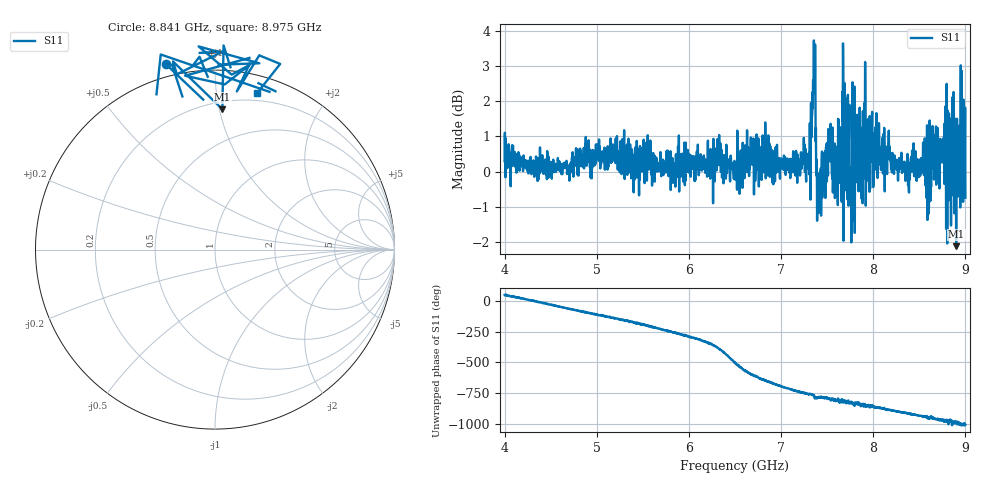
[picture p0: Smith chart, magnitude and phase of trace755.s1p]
! Created with skrf 1.8.0 (http://scikit-rf.org).
# Hz S RI R 50.0
!freq ReS11 ImS11
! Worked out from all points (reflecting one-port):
!   1601 points, 4 GHz to 9 GHz, reference 50 ohm
!   lowest |S11| = -2.1 dB at 8.9 GHz (marker M1), VSWR 8.24, Z = 12.6 + j51.1 ohm
!   phase of S11 starts at 47 deg and turns -1052 deg over the sweep
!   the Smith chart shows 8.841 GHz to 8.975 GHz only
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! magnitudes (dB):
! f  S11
! 4 GHz  0.3
! 4.625 GHz  -0.1
! 5.25 GHz  0.0
! 5.875 GHz  0.3
! 6.331 GHz  0.2
! 6.5 GHz  -0.2
! 6.806 GHz  0.3
! 7.125 GHz  0.3
! 7.294 GHz  0.2
! 7.347 GHz  2.6
! 7.362 GHz  3.4
! 7.4 GHz  -0.6
! 7.412 GHz  -1.2
! 7.512 GHz  1.2
! 7.591 GHz  0.7
! 7.688 GHz  2.5
! 7.75 GHz  0.0
! 7.769 GHz  -1.3
! 7.8 GHz  -1.7
! 7.928 GHz  1.2
! 8.375 GHz  0.3
! 8.538 GHz  0.3
! 8.603 GHz  -1.2
! 8.656 GHz  1.1
! 8.775 GHz  1.4
! 8.9 GHz  -2.1
! 8.972 GHz  0.8
! 9 GHz  -0.7
